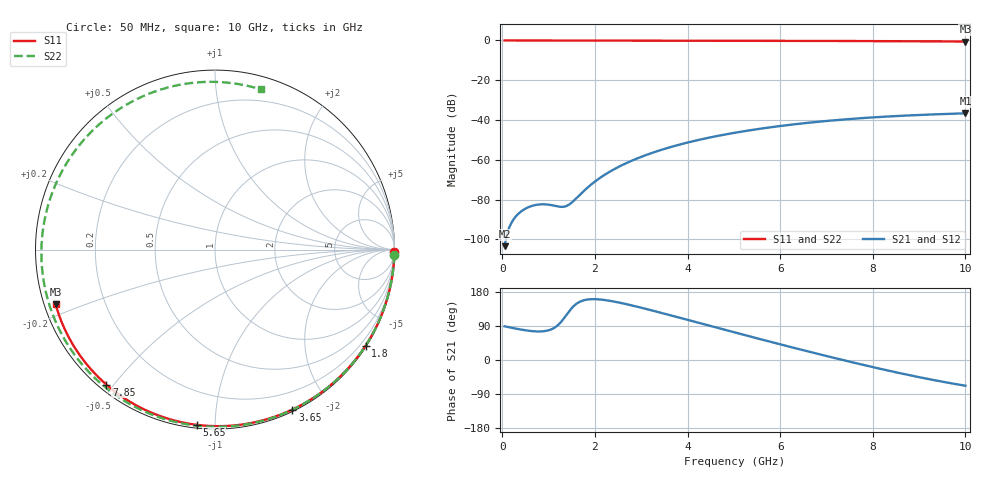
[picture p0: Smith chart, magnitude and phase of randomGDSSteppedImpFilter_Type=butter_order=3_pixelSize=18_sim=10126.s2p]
! freq	dB(S11)	phase(S11)	dB(S12)	phase(S12)
!  dB(S21)	phase(S21)	dB(S22)	phase(S22)
!S-par simulation data
#  GHz  S  DB  R 50
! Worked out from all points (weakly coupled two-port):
!   200 points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, 50 MHz to 10 GHz, reference 50 ohm
!   highest |S21| = -36.65 dB at 10 GHz (marker M1); lowest = -103.5 dB at 50 MHz (marker M2)
!   lowest |S11| = -0.5 dB at 10 GHz (marker M3), VSWR 31.87, Z = 1.61 - j8.34 ohm
!   |S11| at or under -10 dB: nowhere
!   |S22| runs from -0.6 to 0.0 dB; largest |S21 - S12| = 0
!   S11 on the Smith chart (normalised r, x): 50 MHz: open; 1.8 GHz: 0.03, -3.43; 3.65 GHz: 0.02, -1.59; 5.65 GHz: 0.02, -0.90; 7.85 GHz: 0.02, -0.48; 10 GHz: 0.03, -0.17
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0.05  -0.00 -0.9  -103.46 88.9  -103.46 88.9  -0.00 -1.7
0.75  -0.02 -13.7  -82.62 75.4  -82.62 75.4  -0.03 -25.0
1.55  -0.04 -28.1  -80.48 143.3  -80.48 143.3  -0.06 -50.9
1.75  -0.04 -31.6  -75.92 157.2  -75.92 157.2  -0.07 -57.1
1.8  -0.04 -32.5  -74.85 158.8  -74.85 158.8  -0.07 -58.7
2.1  -0.05 -37.8  -69.28 159.8  -69.28 159.8  -0.08 -67.9
2.45  -0.06 -43.9  -64.32 153.3  -64.32 153.3  -0.10 -78.3
2.9  -0.07 -51.6  -59.45 141.0  -59.45 141.0  -0.11 -91.3
3.4  -0.08 -60.0  -55.27 125.5  -55.27 125.5  -0.13 -105.3
3.65  -0.09 -64.2  -53.52 117.4  -53.52 117.4  -0.14 -112.0
4.35  -0.11 -75.6  -49.45 94.5  -49.45 94.5  -0.17 -130.5
5.05  -0.13 -86.7  -46.30 71.7  -46.30 71.7  -0.21 -148.4
5.65  -0.16 -96.0  -44.13 52.5  -44.13 52.5  -0.24 -163.5
6.2  -0.19 -104.3  -42.46 35.1  -42.46 35.1  -0.28 -177.4
6.7  -0.22 -111.8  -41.17 19.6  -41.17 19.6  -0.32 169.8
7.25  -0.26 -119.9  -39.98 3.0  -39.98 3.0  -0.37 155.3
7.85  -0.31 -128.8  -38.92 -14.5  -38.92 -14.5  -0.42 139.0
8.35  -0.35 -136.2  -38.21 -28.4  -38.21 -28.4  -0.47 124.9
8.8  -0.40 -142.8  -37.68 -40.3  -37.68 -40.3  -0.51 111.6
9.2  -0.44 -148.8  -37.29 -50.2  -37.29 -50.2  -0.56 99.5
9.6  -0.49 -154.9  -36.95 -59.4  -36.95 -59.4  -0.60 86.9
10  -0.55 -161.1  -36.65 -67.9  -36.65 -67.9  -0.65 74.1
